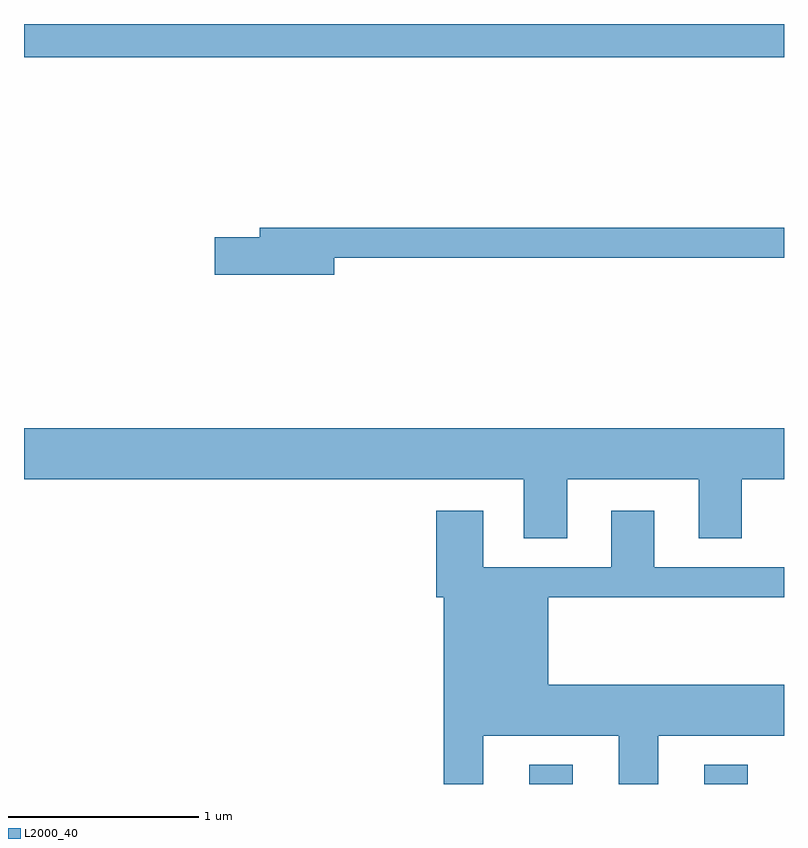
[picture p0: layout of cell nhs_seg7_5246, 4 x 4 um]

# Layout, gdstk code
import gdstk
lib = gdstk.Library(unit=1e-6, precision=1e-09)
def R(c, l, rs):  # rectangles x0, y0, x1, y1
    for r in rs: c.add(gdstk.rectangle(r[:2], r[2:], *l))
def P(c, l, *ps):  # polygons
    for p in ps: c.add(gdstk.Polygon(p, *l))
L2000_40 = (2000, 40)

nhs_seg7_5246 = lib.new_cell('nhs_seg7_5246')
R(nhs_seg7_5246, L2000_40, [(348.271,1728.252,348.499,1728.354), (349.191,1728.252,349.419,1728.354), (345.611,1732.076,349.611,1732.252)])
P(nhs_seg7_5246, L2000_40, [(347.244,1731.021),(349.611,1731.021),(349.611,1731.179),(346.851,1731.179),(346.851,1731.129),(346.616,1731.129),(346.616,1730.931),(347.244,1730.931)],
  [(348.469,1729.856),(349.161,1729.856),(349.161,1729.546),(349.389,1729.546),(349.389,1729.856),(349.611,1729.856),(349.611,1730.124),(345.611,1730.124),(345.611,1729.856),(348.241,1729.856),(348.241,1729.546),(348.469,1729.546)],
  [(348.029,1728.506),(348.741,1728.506),(348.741,1728.252),(348.949,1728.252),(348.949,1728.506),(349.611,1728.506),(349.611,1728.774),(348.369,1728.774),(348.369,1729.236),(349.611,1729.236),(349.611,1729.394),(348.929,1729.394),(348.929,1729.689),(348.701,1729.689),(348.701,1729.394),(348.029,1729.394),(348.029,1729.689),(347.781,1729.689),(347.781,1729.236),(347.821,1729.236),(347.821,1728.252),(348.029,1728.252)])

lib.write_gds('nhs_seg7_5246.gds')
